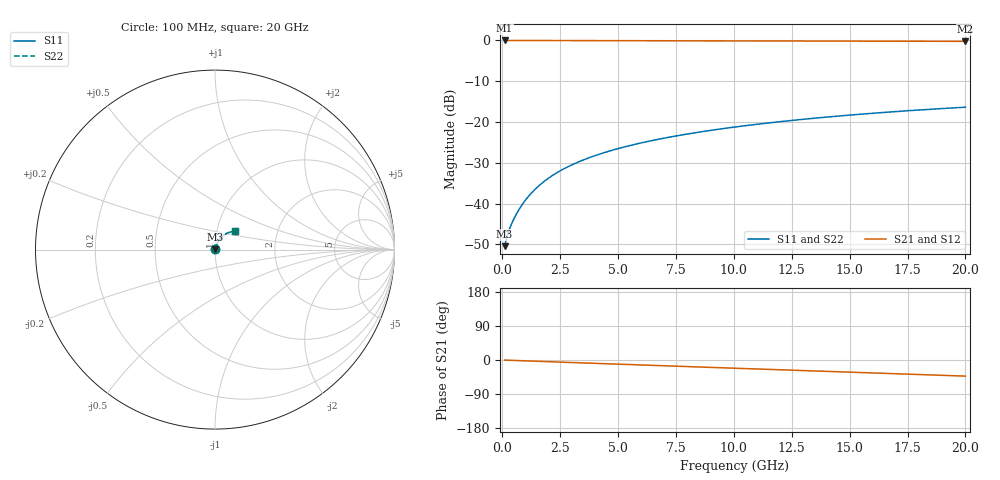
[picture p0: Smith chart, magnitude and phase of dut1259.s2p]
! Touchstone file exported from HFSS 2026.1.0
!  File:  C:/ffzhzh/LocalFiles/Ansys_Project_Files/temp_train_TMRDL_1259_1783163968_22436.aedt
!  Generated:  07:20:37 PM Jul  4, 2026
!  Design:  TMRDL
!  Project:  temp_train_TMRDL_1259_1783163968_22436
! Variables:
!  h_bsmrdl = 2um
!  h_ox = 20um
!  h_rdl = 5um
!  h_sub = 80um
!  h_tmrdl = 5.06um
!  h_tsv = 80um
!  h_via = 3um
!  l_bsmrdl = 300um
!  l_sub = 1143.62um
!  l_tmrdl = 743.62um
!  m_sub = 200um
!  pitch = 30.95um
!  r_tsv = 6um
!  s_tmrdl = 10um
!  w_bsmrdl = 18um
!  w_sub = 500um
!  w_tmrdl = 21.69um
!  x_tsv_center1 = 754.465um
!  x_tsv_center2 = 1072.465um
!  x_tsv_center3 = 1837.775um
!  x_tsv_center4 = 2155.775um
!  x_tsv_center5 = 2921.085um
!  x_tsv_center6 = 3239.085um
# GHz S MA R 50.000000
! Terminal data exported
! Port[1] = TM_RDL1_1_T1
! Port[2] = TM_RDL1_1_T2
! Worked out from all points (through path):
!   200 points, 100 MHz to 20 GHz, reference 50 ohm
!   highest |S21| = -0.02 dB at 100 MHz (marker M1); lowest = -0.2 dB at 20 GHz (marker M2)
!   group delay of S21, straight-line fit = 5.89 ps
!   lowest |S11| = -50.5 dB at 100 MHz (marker M3), VSWR 1.01, Z = 50.3 + j0.141 ohm
!   |S11| at or under -10 dB: start of sweep to end of sweep
!   |S22| runs from -50.5 to -16.4 dB; largest |S21 - S12| = 2.1e-15
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0.1  0.002999 27.9  0.9974 -0.2  0.9974 -0.2  0.002999 27.9
! Gamma 0 0 0 0
! Port Impedance 50 0 50 0
0.2  0.003913 40.6  0.997 -0.5  0.997 -0.5  0.003913 40.6
0.3  0.004786 47.6  0.9968 -0.7  0.9968 -0.7  0.004786 47.6
0.5  0.006477 56.7  0.9965 -1.1  0.9965 -1.1  0.006477 56.7
0.6  0.007346 59.8  0.9964 -1.4  0.9964 -1.4  0.007346 59.8
0.8  0.009143 64.5  0.9963 -1.8  0.9963 -1.8  0.009143 64.4
1  0.011 67.4  0.9961 -2.3  0.9961 -2.3  0.011 67.4
1.2  0.01288 69.4  0.996 -2.7  0.996 -2.7  0.01288 69.4
1.4  0.01478 70.7  0.9958 -3.1  0.9958 -3.1  0.01478 70.7
1.7  0.01764 71.8  0.9955 -3.8  0.9955 -3.8  0.01764 71.8
2.2  0.02236 72.6  0.9949 -4.9  0.9949 -4.9  0.02236 72.5
2.8  0.02791 72.4  0.9941 -6.2  0.9941 -6.2  0.02791 72.4
3.5  0.03421 71.7  0.9932 -7.8  0.9932 -7.8  0.03421 71.7
4.2  0.04032 70.7  0.9922 -9.3  0.9922 -9.3  0.04032 70.7
5  0.04711 69.5  0.9911 -11.0  0.9911 -11.0  0.04711 69.4
5.9  0.05453 67.9  0.9898 -12.9  0.9898 -12.9  0.05453 67.9
6.8  0.06177 66.4  0.9886 -14.8  0.9886 -14.8  0.06177 66.4
8.3  0.07349 63.8  0.9867 -18.0  0.9867 -18.0  0.0735 63.7
10.1  0.08706 60.5  0.9845 -21.8  0.9845 -21.8  0.08706 60.5
13.4  0.1106 54.4  0.9805 -28.8  0.9805 -28.8  0.1106 54.4
16.7  0.1322 48.2  0.9764 -35.7  0.9764 -35.7  0.1322 48.1
20  0.1516 41.8  0.9725 -42.5  0.9725 -42.5  0.1516 41.7
